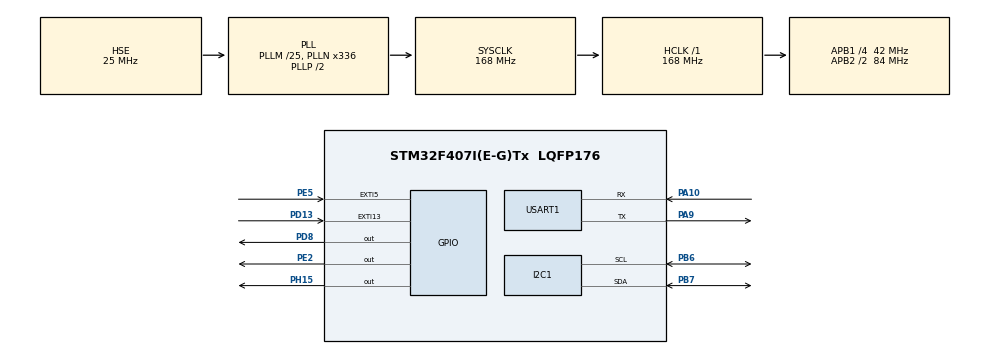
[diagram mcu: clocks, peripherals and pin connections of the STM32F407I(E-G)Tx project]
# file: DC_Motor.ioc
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I2C1.DualAddressMode=I2C_DUALADDRESS_DISABLE
I2C1.GeneralCallMode=I2C_GENERALCALL_ENABLE
Mcu.Family=STM32F4
Mcu.Name=STM32F407I(E-G)Tx
Mcu.Package=LQFP176
NVIC.EXTI15_10_IRQn=true\:4\:0\:true\:false\:true
NVIC.EXTI9_5_IRQn=true\:5\:0\:true\:false\:true
NVIC.PriorityGroup=NVIC_PRIORITYGROUP_4
NVIC.TIM3_IRQn=true\:2\:0\:true\:false\:true
NVIC.USART1_IRQn=true\:3\:0\:true\:false\:true
PA10.Mode=Asynchronous
PA10.Signal=USART1_RX
PA9.Mode=Asynchronous
PA9.Signal=USART1_TX
PB6.Mode=I2C
PB6.Signal=I2C1_SCL
PB7.Mode=I2C
PB7.Signal=I2C1_SDA
PD13.GPIO_ModeDefaultEXTI=GPIO_MODE_IT_FALLING
PD13.GPIO_PuPd=GPIO_NOPULL
PD13.Signal=GPXTI13
PD8.GPIO_ModeDefaultOutputPP=GPIO_MODE_OUTPUT_PP
PD8.GPIO_PuPd=GPIO_PULLUP
PD8.Signal=GPIO_Output
PE2.GPIO_ModeDefaultOutputPP=GPIO_MODE_OUTPUT_PP
PE2.GPIO_PuPd=GPIO_PULLUP
PE2.Signal=GPIO_Output
PE5.GPIO_ModeDefaultEXTI=GPIO_MODE_IT_FALLING
PE5.GPIO_PuPd=GPIO_PULLUP
PE5.Signal=GPXTI5
PH0-OSC_IN.Mode=HSE-External-Oscillator
PH0-OSC_IN.Signal=RCC_OSC_IN
PH1-OSC_OUT.Mode=HSE-External-Oscillator
PH1-OSC_OUT.Signal=RCC_OSC_OUT
PH15.GPIO_ModeDefaultOutputPP=GPIO_MODE_OUTPUT_OD
PH15.Signal=GPIO_Output
ProjectManager.HeapSize=0x200
ProjectManager.StackSize=0x400
ProjectManager.TargetToolchain=MDK-ARM V5
RCC.48MHZClocksFreq_Value=84000000
RCC.AHBFreq_Value=168000000
RCC.APB1CLKDivider=RCC_HCLK_DIV4
RCC.APB1Freq_Value=42000000
RCC.APB1TimFreq_Value=84000000
RCC.APB2CLKDivider=RCC_HCLK_DIV2
RCC.APB2Freq_Value=84000000
RCC.APB2TimFreq_Value=168000000
RCC.CortexFreq_Value=168000000
RCC.HCLKFreq_Value=168000000
RCC.HSE_VALUE=25000000
RCC.HSI_VALUE=16000000
RCC.LSE_VALUE=32768
RCC.PLLM=25
RCC.PLLN=336
RCC.PLLSourceVirtual=RCC_PLLSOURCE_HSE
RCC.SYSCLKFreq_VALUE=168000000
RCC.SYSCLKSource=RCC_SYSCLKSOURCE_PLLCLK
RCC.VCOOutputFreq_Value=336000000
TIM3.ClockDivision=TIM_CLOCKDIVISION_DIV1
TIM3.Period=20000
TIM3.Prescaler=83
VP_TIM3_VS_ClockSourceINT.Mode=Internal
board=DC_Motor

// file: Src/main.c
/**
  ******************************************************************************
  * File Name          : main.c
  * Description        : Main program body
  ******************************************************************************
  *
  * COPYRIGHT(c) 2016 STMicroelectronics
  *
  * Redistribution and use in source and binary forms, with or without modification,
  * are permitted provided that the following conditions are met:
  *   1. Redistributions of source code must retain the above copyright notice,
  *      this list of conditions and the following disclaimer.
  *   2. Redistributions in binary form must reproduce the above copyright notice,
  *      this list of conditions and the following disclaimer in the documentation
  *      and/or other materials provided with the distribution.
  *   3. Neither the name of STMicroelectronics nor the names of its contributors
  *      may be used to endorse or promote products derived from this software
  *      without specific prior written permission.
  *
  * THIS SOFTWARE IS PROVIDED BY THE COPYRIGHT HOLDERS AND CONTRIBUTORS "AS IS"
  * AND ANY EXPRESS OR IMPLIED WARRANTIES, INCLUDING, BUT NOT LIMITED TO, THE
  * IMPLIED WARRANTIES OF MERCHANTABILITY AND FITNESS FOR A PARTICULAR PURPOSE ARE
  * DISCLAIMED. IN NO EVENT SHALL THE COPYRIGHT HOLDER OR CONTRIBUTORS BE LIABLE
  * FOR ANY DIRECT, INDIRECT, INCIDENTAL, SPECIAL, EXEMPLARY, OR CONSEQUENTIAL
  * DAMAGES (INCLUDING, BUT NOT LIMITED TO, PROCUREMENT OF SUBSTITUTE GOODS OR
  * SERVICES; LOSS OF USE, DATA, OR PROFITS; OR BUSINESS INTERRUPTION) HOWEVER
  * CAUSED AND ON ANY THEORY OF LIABILITY, WHETHER IN CONTRACT, STRICT LIABILITY,
  * OR TORT (INCLUDING NEGLIGENCE OR OTHERWISE) ARISING IN ANY WAY OUT OF THE USE
  * OF THIS SOFTWARE, EVEN IF ADVISED OF THE POSSIBILITY OF SUCH DAMAGE.
  *
  ******************************************************************************
  */
#include "stm32f4xx_hal.h"
#include "i2c.h"
#include "tim.h"
#include "usart.h"
#include "gpio.h"
#include "LM75A.h"

/* USER CODE BEGIN Includes */
#include "zlg7290.h"
#include "stdio.h"
#include "Dc_motor.h"
#include "stm32f4xx_hal_iwdg.h"
#include "i2c.h"

/* USER CODE END Includes */

/* USER CODE BEGIN PV */
/* Private variables ---------------------------------------------------------*/
#define ZLG_READ_ADDRESS1         0x01
#define ZLG_READ_ADDRESS2         0x10

#define ZLG_WRITE_ADDRESS1        0x10
#define ZLG_WRITE_ADDRESS2        0x11
#define BUFFER_SIZE1              (countof(Tx1_Buffer))
#define BUFFER_SIZE2              (countof(Rx2_Buffer))
#define countof(a) (sizeof(a) / sizeof(*(a)))
#define QUEUESIZE									5

uint8_t flag;//不同的按键有不同的标志位值
//uint8_t flag1 = 0;//中断标志位，每次按键产生一次中断，并开始读取8个数码管的值
uint8_t Rx2_Buffer[8]={0};
uint8_t Tx1_Buffer[8]={0};
uint8_t Rx1_Buffer[1]={0};

// 备份温度阈值
typedef struct dataBack
{
	/* data */
	uint8_t bk[3];
	uint16_t cksum;
}databk;

// 用于存储当前状态
typedef struct currentState {
	uint8_t state[2];
	uint16_t check;
}curState;

uint8_t seq_flag;       // 前序代码id

unsigned char seg7code[10]={ 0xFC,0x0C,0xDA,0xF2,0x66,0xB6,0xBE,0xE0,0xFE,0xE6}; //数码管字根
void Led(int date);

/* USER CODE END PV */

void SystemClock_Config(void);
void SystemClock_Config1(void);
void Error_Handler(void);
uint16_t crc16(uint8_t *addr,uint8_t num);

/* USER CODE BEGIN PFP */
/* Private function prototypes -----------------------------------------------*/
void swtich_key(void);
void switch_flag(void);
/* USER CODE END PFP */

/* USER CODE BEGIN 0 */
databk bk2;
uint16_t checksum_b1;
uint16_t Temp;
uint8_t count = 0;
uint8_t first = 0;
uint8_t second = 0;
uint8_t third = 0;
double tempvalue;
IWDG_HandleTypeDef hiwdg;
uint8_t threshold[3] = {26, 27, 29};    // 温度阈值
uint16_t thresholdck;                   // 温度阈值的校验值

uint8_t bufSize = 3;
uint16_t checksum;
int temp_flag = 1;
databk bk1;
uint16_t checksum_b2;
uint32_t unStartflag[64] __attribute__((at(0x10000000)));
curState curstate;
/* USER CODE END 0 */

void delay() {
	for(int i =0; i < 5000; i++) {
	}
}

// 算术平均滤波
double filter(int N, uint16_t Temp) {
	double sum = 0;
	short i;
	for(i =0; i < N; i++) {
		sum += LM75GetTempValue(Temp);
	}

	return sum / N;
}

//CRC-16校验
//addr:需要检验的字节数组
//num:需要检验的字节数
//返回值:16位CRC校验码
uint16_t crc16(uint8_t *addr,uint8_t num)
{
	uint16_t i,j,temp;
	uint16_t crc=0xFFFF;
	for(i=0;i<num;i++)
	{
		crc=crc^(*addr);
		for(j=0;j<8;j++)
		{
			temp=crc&0x0001;
			crc=crc>>1;
			if(temp)
			{
				crc=crc^0xA001;
			}
		}
		addr++;
	}
	return crc;
}

/*初始化看门狗*/
void MX_IWDG_Init(void) {
	hiwdg.Instance = IWDG;		//独立看门狗
	hiwdg.Init.Prescaler = IWDG_PRESCALER_64;		//设置IWDG分频系数为64
	hiwdg.Init.Reload = 4095;										//重装载值4095
	if (HAL_IWDG_Init(&hiwdg) != HAL_OK) {
		Error_Handler();
	}
}

/*喂狗*/
void IWDG_Feed(void) {
	HAL_IWDG_Refresh(&hiwdg);
}

//备份温度阈值
void backup() {
	bk1.bk[0] = threshold[0];
	bk1.bk[1] = threshold[1];
	bk1.bk[2] = threshold[2];
	bk1.cksum = crc16(bk1.bk, 3);

	bk2.bk[0] = threshold[0];
	bk2.bk[1] = threshold[1];
	bk2.bk[2] = threshold[2];
	bk2.cksum = crc16(bk2.bk, 3);
}

//初始化
void init() {
	/* Reset of all peripherals, Initializes the Flash interface and the Systick. */
	HAL_Init();
	//HAL_Delay(10);
	/* Configure the system clock */
	SystemClock_Config();
	//SystemClock_Config1();

	/* Initialize all configured peripherals */
	MX_GPIO_Init();
	MX_I2C1_Init();
	MX_USART1_UART_Init();
	MX_TIM3_Init();
	LM75SetMode(CONF_ADDR,NORMOR_MODE);
	DC_Motor_Pin_Low();
	HAL_TIM_Base_Start_IT(&htim3);   //启动定时器3.

	seq_flag = 1;
}

//手动模式读键值

int main(void)
{

  /* USER CODE BEGIN 1 */
	if (unStartflag[0] != 0xaabbccdd) {
		//冷启动
		delay();
		init();
		MX_IWDG_Init();			//init dog
	} else {
		//热启动
		if (crc16(curstate.state, 2) != curstate.check) {
			delay();
			init();
			MX_IWDG_Init();			//init dog
		}
	}
    unStartflag[0] = 0xaabbccdd;    // 冷热启动标志
    backup();

  /* USER CODE END 1 */

  /* MCU Configuration----------------------------------------------------------*/

  /* Infinite loop */
  /* USER CODE BEGIN WHILE */
  while (1)
  {
		init();
		//printf("%x\n", crc16(threshold, 3));
		//printf("%x\n", unStartflag[0]);
		/* USER CODE BEGIN 3 */
		if(flag1 == 1)
		{
			flag1 = 0;
			if (seq_flag == 1 || seq_flag == 5) {
				I2C_ZLG7290_Read(&hi2c1,0x71,0x01,Rx1_Buffer,1);//读键值
				first = Rx1_Buffer[0];
				//printf("first:\n\r按键键值 = %#x\r\n",Rx1_Buffer[0]);//想串口发送键值
				I2C_ZLG7290_Read(&hi2c1,0x71,0x01,Rx1_Buffer,1);//读键值
				second = Rx1_Buffer[0];
				//printf("second:\n\r按键键值 = %#x\r\n",Rx1_Buffer[0]);//想串口发送键值
				I2C_ZLG7290_Read(&hi2c1,0x71,0x01,Rx1_Buffer,1);//读键值
				third = Rx1_Buffer[0];
				//printf("1: %#x, 2: %#x, 3: %#x\r\n",first, second, third);//想串口发送键?
				if (first != second || second != third || first != third) {
					continue;
				}
				IWDG_Feed();		//feed dog
				HAL_Delay(rand()%100);      // 随机时延
				seq_flag = 2;
			}
			if (seq_flag == 2) {
				swtich_key();
				printf("\n\r按键键值 = %d\r\n",flag);//想串口发送键值
				//DC_Task(Rx1_Buffer[0]);
				curstate.state[0] = Rx1_Buffer[0];
				if (flag != 1 && flag != 2 && flag != 3) {
					flag = 0;
				}
				//Led(flag);
				curstate.state[1] = flag;
				curstate.check = crc16(curstate.state, 2);
				seq_flag = 3;
			}
			count = 0;

		}	else {
			if (seq_flag == 1 || seq_flag == 3) {
				if (LM75GetTempReg() == EVL_ER) {   // 没有读到温度
					temp_flag = 0;
					for(int i = 0; i < 5; i++) {    // 再检测5次
						if (LM75GetTempReg() != EVL_ER) {
							temp_flag = 1;
						}
					}
					if (temp_flag == 0) {       // 温度传感器出错
						printf("temp error!\n");
						Led(0x0B);
					}
				} else {
					temp_flag = 1;
				}
				seq_flag = 4;
			}
			if (seq_flag == 4) {
				if (temp_flag == 1 && count > 100) {
					tempvalue = filter((rand()%6) + 1, LM75GetTempReg());   // 对温度进行滤波
					IWDG_Feed();		//feed dog
					if (crc16(threshold, 3) != thresholdck) {   // 数据校验值错误
						if (crc16(bk1.bk, 3) == bk1.cksum) {    // 取备份1
							for(int i = 0; i < 3; i++) {        // 若备份1正确，使用备份1修正原来的数据
								threshold[i] = bk1.bk[i];
							}
							thresholdck = bk1.cksum;
						} else if (crc16(bk1.bk, 3) != bk1.cksum){  // 备份1错，取备份2
							for(int i = 0; i < 3; i++) {        // 若备份2正确，使用备份2修正原来的数据和备份1
								threshold[i] = bk2.bk[i];
							}
							thresholdck = bk2.cksum;
							for(int i = 0; i < 3; i++) {
								bk1.bk[i] = bk2.bk[i];
							}
							bk1.cksum = bk2.cksum;
						} else {                        // 都错，报错
							printf("threshold error!\n");
							Led(0x0B);
						}
					}
					HAL_Delay(rand()%100);      // 随机时延
					if (tempvalue > threshold[0] && tempvalue < threshold[1]) {
						//DC_Task(0x1c);
						//Led(1);
						curstate.state[0] = 0x1c;      // 存储当前状态
						curstate.state[1] = 1;
						curstate.check = crc16(curstate.state, 2);
					} else if (tempvalue >= threshold[1] && tempvalue < threshold[2]) {
						//DC_Task(0x1b);
						//Led(2);
						curstate.state[0] = 0x1b;       // 存储当前状态
						curstate.state[1] = 2;
						curstate.check = crc16(curstate.state, 2);
					} else if (tempvalue >= threshold[2]){
						//DC_Task(0x1a);
						//Led(3);
						curstate.state[0] = 0x1a;       // 存储当前状态
						curstate.state[1] = 3;
						curstate.check = crc16(curstate.state, 2);
					} else {
						//DC_Task(0x1d);
						//Led(0);
						curstate.state[0] = 0x1d;       // 存储当前状态
						curstate.state[1] = 0;
						curstate.check = crc16(curstate.state, 2);
					}
					count = 0;
					seq_flag = 5;
				}
			}
		}
        // fresh
        int seq = rand() % 2;   // 乱序执行
        switch(seq) {
        case 0:
            DC_Task(curstate.state[0]);
		    Led(curstate.state[1]);
        case 1:
            Led(curstate.state[1]);
            DC_Task(curstate.state[0]);
        }
		// DC_Task(curstate.state[0]);
		// Led(curstate.state[1]);
		count++;
	  HAL_Delay(100);
  }
  /* USER CODE END 3 */
}

/** System Clock Configuration
*/
void SystemClock_Config(void)
{

  RCC_OscInitTypeDef RCC_OscInitStruct;
  RCC_ClkInitTypeDef RCC_ClkInitStruct;

  __HAL_RCC_PWR_CLK_ENABLE();

  __HAL_PWR_VOLTAGESCALING_CONFIG(PWR_REGULATOR_VOLTAGE_SCALE1);

  RCC_OscInitStruct.OscillatorType = RCC_OSCILLATORTYPE_HSE;
  RCC_OscInitStruct.HSEState = RCC_HSE_ON;
  RCC_OscInitStruct.PLL.PLLState = RCC_PLL_ON;
  RCC_OscInitStruct.PLL.PLLSource = RCC_PLLSOURCE_HSE;
  RCC_OscInitStruct.PLL.PLLM = 25;
  RCC_OscInitStruct.PLL.PLLN = 336;
  RCC_OscInitStruct.PLL.PLLP = RCC_PLLP_DIV2;
  RCC_OscInitStruct.PLL.PLLQ = 4;
  if (HAL_RCC_OscConfig(&RCC_OscInitStruct) != HAL_OK)
  {
    Error_Handler();
  }

  RCC_ClkInitStruct.ClockType = RCC_CLOCKTYPE_HCLK|RCC_CLOCKTYPE_SYSCLK
                              |RCC_CLOCKTYPE_PCLK1|RCC_CLOCKTYPE_PCLK2;
  RCC_ClkInitStruct.SYSCLKSource = RCC_SYSCLKSOURCE_PLLCLK;
  RCC_ClkInitStruct.AHBCLKDivider = RCC_SYSCLK_DIV1;
  RCC_ClkInitStruct.APB1CLKDivider = RCC_HCLK_DIV4;
  RCC_ClkInitStruct.APB2CLKDivider = RCC_HCLK_DIV2;
  if (HAL_RCC_ClockConfig(&RCC_ClkInitStruct, FLASH_LATENCY_5) != HAL_OK)
  {
    Error_Handler();
  }

  //HAL_SYSTICK_Config(HAL_RCC_GetHCLKFreq()/1000);

  //HAL_SYSTICK_CLKSourceConfig(SYSTICK_CLKSOURCE_HCLK);

  /* SysTick_IRQn interrupt configuration */
  //HAL_NVIC_SetPriority(SysTick_IRQn, 0, 0);

	/*add*/
	//RCC_OscInitTypeDef RCC_OscInitStruct;
  //RCC_ClkInitTypeDef RCC_ClkInitStruct;

  __HAL_RCC_PWR_CLK_ENABLE();

  __HAL_PWR_VOLTAGESCALING_CONFIG(PWR_REGULATOR_VOLTAGE_SCALE1);

  RCC_OscInitStruct.OscillatorType = RCC_OSCILLATORTYPE_HSI;
  RCC_OscInitStruct.HSIState = RCC_HSI_ON;
  RCC_OscInitStruct.HSICalibrationValue = 16;
  RCC_OscInitStruct.PLL.PLLState = RCC_PLL_NONE;
  if (HAL_RCC_OscConfig(&RCC_OscInitStruct) != HAL_OK)
  {
    Error_Handler();
  }

  RCC_ClkInitStruct.ClockType = RCC_CLOCKTYPE_HCLK|RCC_CLOCKTYPE_SYSCLK
                              |RCC_CLOCKTYPE_PCLK1|RCC_CLOCKTYPE_PCLK2;
  RCC_ClkInitStruct.SYSCLKSource = RCC_SYSCLKSOURCE_HSI;
  RCC_ClkInitStruct.AHBCLKDivider = RCC_SYSCLK_DIV1;
  RCC_ClkInitStruct.APB1CLKDivider = RCC_HCLK_DIV1;
  RCC_ClkInitStruct.APB2CLKDivider = RCC_HCLK_DIV1;
  if (HAL_RCC_ClockConfig(&RCC_ClkInitStruct, FLASH_LATENCY_0) != HAL_OK)
  {
    Error_Handler();
  }

  HAL_SYSTICK_Config(HAL_RCC_GetHCLKFreq()/1000);

  HAL_SYSTICK_CLKSourceConfig(SYSTICK_CLKSOURCE_HCLK);

  /* SysTick_IRQn interrupt configuration */
  HAL_NVIC_SetPriority(SysTick_IRQn, 0, 0);
	/*end*/
}

/* USER CODE BEGIN 4 */

/*temp add*/
/*void SystemClock_Config1(void)
{

  RCC_OscInitTypeDef RCC_OscInitStruct;
  RCC_ClkInitTypeDef RCC_ClkInitStruct;

  __HAL_RCC_PWR_CLK_ENABLE();

  __HAL_PWR_VOLTAGESCALING_CONFIG(PWR_REGULATOR_VOLTAGE_SCALE1);

  RCC_OscInitStruct.OscillatorType = RCC_OSCILLATORTYPE_HSI;
  RCC_OscInitStruct.HSIState = RCC_HSI_ON;
  RCC_OscInitStruct.HSICalibrationValue = 16;
  RCC_OscInitStruct.PLL.PLLState = RCC_PLL_NONE;
  if (HAL_RCC_OscConfig(&RCC_OscInitStruct) != HAL_OK)
  {
    Error_Handler();
  }

  RCC_ClkInitStruct.ClockType = RCC_CLOCKTYPE_HCLK|RCC_CLOCKTYPE_SYSCLK
                              |RCC_CLOCKTYPE_PCLK1|RCC_CLOCKTYPE_PCLK2;
  RCC_ClkInitStruct.SYSCLKSource = RCC_SYSCLKSOURCE_HSI;
  RCC_ClkInitStruct.AHBCLKDivider = RCC_SYSCLK_DIV1;
  RCC_ClkInitStruct.APB1CLKDivider = RCC_HCLK_DIV1;
  RCC_ClkInitStruct.APB2CLKDivider = RCC_HCLK_DIV1;
  if (HAL_RCC_ClockConfig(&RCC_ClkInitStruct, FLASH_LATENCY_0) != HAL_OK)
  {
    Error_Handler();
  }

  HAL_SYSTICK_Config(HAL_RCC_GetHCLKFreq()/1000);

  HAL_SYSTICK_CLKSourceConfig(SYSTICK_CLKSOURCE_HCLK);

  //HAL_NVIC_SetPriority(SysTick_IRQn, 0, 0);
//}
end*/

void Led(int date) //显示函数
{
/*****************数据转换*****************************/
unsigned int qian,bai,shi,ge;
  qian=date/1000;				 //求千位
  bai=date%1000/100;		 //求百位
  shi=date%1000%100/10;			 //求十位
  ge=date%10;						 //求个位

//	I2C_Gets(ZLG7290_I2C_ADDR,0x10,1,Rx2_Buffer,8);//读8位数码管

	if(fs_flag==0) Tx1_Buffer[3] = 0x02;
	if(fs_flag==1) Tx1_Buffer[3] = 0x00;
	if(fs_flag ==2) Tx1_Buffer[3] =seg7code[0];

	Tx1_Buffer[4] = seg7code[qian];
	Tx1_Buffer[5] = seg7code[bai];
	Tx1_Buffer[6] = seg7code[shi];
	Tx1_Buffer[7] = seg7code[ge];

  I2C_ZLG7290_Write(&hi2c1,0x70,ZLG_WRITE_ADDRESS1,Tx1_Buffer,8);
}

void swtich_key(void)
{
	switch(Rx1_Buffer[0])
	{
        case 0x1C:
					flag = 1;
          break;
        case 0x1B:
					flag = 2;
          break;
        case 0x1A:
					flag = 3;
          break;
        case 0x14:
					flag = 4;
          break;
				case 0x13:
					flag = 5;
					break;
        case 0x12:
					flag = 6;
          break;
        case 0x0C:
					flag = 7;
          break;
        case 0x0B:
          flag = 8;
          break;
				case 0x0A:
					flag = 9;
					break;
				case 0x03:
					flag = 15;
					break;
				case 0x19:
					flag = 10;
					break;
				case 0x11:
					flag = 11;
					break;
				case 0x09:
					flag = 12;
					break;
				case 0x01:
					flag = 13;
					break;
				case 0x02:
					flag = 14;
					break;
        default:
          break;
			}
}

void switch_flag(void){
	switch(flag){
			case 1:
				Tx1_Buffer[0] = 0x0c;
				if(Rx2_Buffer[0] == 0)
					{
						I2C_ZLG7290_Write(&hi2c1,0x70,ZLG_WRITE_ADDRESS1,Tx1_Buffer,1);
					}
					else
					{
						I2C_ZLG7290_Write(&hi2c1,0x70,ZLG_WRITE_ADDRESS2,Rx2_Buffer,BUFFER_SIZE2);
						I2C_ZLG7290_Write(&hi2c1,0x70,ZLG_WRITE_ADDRESS1,Tx1_Buffer,1);
					}
				break;
			case 2:
				Tx1_Buffer[0] = 0xDA;
				if(Rx2_Buffer[0] == 0)
					{
						I2C_ZLG7290_Write(&hi2c1,0x70,ZLG_WRITE_ADDRESS1,Tx1_Buffer,1);
					}
					else
					{
						I2C_ZLG7290_Write(&hi2c1,0x70,ZLG_WRITE_ADDRESS2,Rx2_Buffer,BUFFER_SIZE2);
						I2C_ZLG7290_Write(&hi2c1,0x70,ZLG_WRITE_ADDRESS1,Tx1_Buffer,1);
					}
				break;
			case 3:
				Tx1_Buffer[0] = 0xF2;
				if(Rx2_Buffer[0] == 0)
					{
						I2C_ZLG7290_Write(&hi2c1,0x70,ZLG_WRITE_ADDRESS1,Tx1_Buffer,1);
					}
					else
					{
						I2C_ZLG7290_Write(&hi2c1,0x70,ZLG_WRITE_ADDRESS2,Rx2_Buffer,BUFFER_SIZE2);
						I2C_ZLG7290_Write(&hi2c1,0x70,ZLG_WRITE_ADDRESS1,Tx1_Buffer,1);
					}
				break;
			case 4:
				Tx1_Buffer[0] = 0x66;
				if(Rx2_Buffer[0] == 0)
					{
						I2C_ZLG7290_Write(&hi2c1,0x70,ZLG_WRITE_ADDRESS1,Tx1_Buffer,1);
					}
					else
					{
						I2C_ZLG7290_Write(&hi2c1,0x70,ZLG_WRITE_ADDRESS2,Rx2_Buffer,BUFFER_SIZE2);
						I2C_ZLG7290_Write(&hi2c1,0x70,ZLG_WRITE_ADDRESS1,Tx1_Buffer,1);
					}
				break;
			case 5:
				Tx1_Buffer[0] = 0xB6;
				if(Rx2_Buffer[0] == 0)
					{
						I2C_ZLG7290_Write(&hi2c1,0x70,ZLG_WRITE_ADDRESS1,Tx1_Buffer,1);
					}
					else
					{
						I2C_ZLG7290_Write(&hi2c1,0x70,ZLG_WRITE_ADDRESS2,Rx2_Buffer,BUFFER_SIZE2);
						I2C_ZLG7290_Write(&hi2c1,0x70,ZLG_WRITE_ADDRESS1,Tx1_Buffer,1);
					}
				break;
			case 6:
				Tx1_Buffer[0] = 0xBE;
				if(Rx2_Buffer[0] == 0)
					{
						I2C_ZLG7290_Write(&hi2c1,0x70,ZLG_WRITE_ADDRESS1,Tx1_Buffer,1);
					}
					else
					{
						I2C_ZLG7290_Write(&hi2c1,0x70,ZLG_WRITE_ADDRESS2,Rx2_Buffer,BUFFER_SIZE2);
						I2C_ZLG7290_Write(&hi2c1,0x70,ZLG_WRITE_ADDRESS1,Tx1_Buffer,1);
					}
				break;
			case 7:
				Tx1_Buffer[0] = 0xE0;
				if(Rx2_Buffer[0] == 0)
					{
						I2C_ZLG7290_Write(&hi2c1,0x70,ZLG_WRITE_ADDRESS1,Tx1_Buffer,1);
					}
					else
					{
						I2C_ZLG7290_Write(&hi2c1,0x70,ZLG_WRITE_ADDRESS2,Rx2_Buffer,BUFFER_SIZE2);
						I2C_ZLG7290_Write(&hi2c1,0x70,ZLG_WRITE_ADDRESS1,Tx1_Buffer,1);
					}
				break;
			case 8:
				Tx1_Buffer[0] = 0xFE;
				if(Rx2_Buffer[0] == 0)
					{
						I2C_ZLG7290_Write(&hi2c1,0x70,ZLG_WRITE_ADDRESS1,Tx1_Buffer,1);
					}
					else
					{
						I2C_ZLG7290_Write(&hi2c1,0x70,ZLG_WRITE_ADDRESS2,Rx2_Buffer,BUFFER_SIZE2);
						I2C_ZLG7290_Write(&hi2c1,0x70,ZLG_WRITE_ADDRESS1,Tx1_Buffer,1);
					}
				break;
			case 9:
				Tx1_Buffer[0] = 0xE6;
				if(Rx2_Buffer[0] == 0)
					{
						I2C_ZLG7290_Write(&hi2c1,0x70,ZLG_WRITE_ADDRESS1,Tx1_Buffer,1);
					}
					else
					{
						I2C_ZLG7290_Write(&hi2c1,0x70,ZLG_WRITE_ADDRESS2,Rx2_Buffer,BUFFER_SIZE2);
						I2C_ZLG7290_Write(&hi2c1,0x70,ZLG_WRITE_ADDRESS1,Tx1_Buffer,1);
					}
				break;
			case 10:
				Tx1_Buffer[0] = 0xEE;
				if(Rx2_Buffer[0] == 0)
					{
						I2C_ZLG7290_Write(&hi2c1,0x70,ZLG_WRITE_ADDRESS1,Tx1_Buffer,1);
					}
					else
					{
						I2C_ZLG7290_Write(&hi2c1,0x70,ZLG_WRITE_ADDRESS2,Rx2_Buffer,BUFFER_SIZE2);
						I2C_ZLG7290_Write(&hi2c1,0x70,ZLG_WRITE_ADDRESS1,Tx1_Buffer,1);
					}
				break;
			case 11:
				Tx1_Buffer[0] = 0x3E;
				if(Rx2_Buffer[0] == 0)
					{
						I2C_ZLG7290_Write(&hi2c1,0x70,ZLG_WRITE_ADDRESS1,Tx1_Buffer,1);
					}
					else
					{
						I2C_ZLG7290_Write(&hi2c1,0x70,ZLG_WRITE_ADDRESS2,Rx2_Buffer,BUFFER_SIZE2);
						I2C_ZLG7290_Write(&hi2c1,0x70,ZLG_WRITE_ADDRESS1,Tx1_Buffer,1);
					}
				break;
					case 12:
				Tx1_Buffer[0] = 0x9C;
				if(Rx2_Buffer[0] == 0)
					{
						I2C_ZLG7290_Write(&hi2c1,0x70,ZLG_WRITE_ADDRESS1,Tx1_Buffer,1);
					}
					else
					{
						I2C_ZLG7290_Write(&hi2c1,0x70,ZLG_WRITE_ADDRESS2,Rx2_Buffer,BUFFER_SIZE2);
						I2C_ZLG7290_Write(&hi2c1,0x70,ZLG_WRITE_ADDRESS1,Tx1_Buffer,1);
					}
				break;
					case 13:
				Tx1_Buffer[0] = 0x7A;
				if(Rx2_Buffer[0] == 0)
					{
						I2C_ZLG7290_Write(&hi2c1,0x70,ZLG_WRITE_ADDRESS1,Tx1_Buffer,1);
					}
					else
					{
						I2C_ZLG7290_Write(&hi2c1,0x70,ZLG_WRITE_ADDRESS2,Rx2_Buffer,BUFFER_SIZE2);
						I2C_ZLG7290_Write(&hi2c1,0x70,ZLG_WRITE_ADDRESS1,Tx1_Buffer,1);
					}
				break;
					case 14:
							Tx1_Buffer[0] = 0x00;
							I2C_ZLG7290_Write(&hi2c1,0x70,ZLG_WRITE_ADDRESS1,Tx1_Buffer,8);
						break;
					case 15:
				Tx1_Buffer[0] = 0xFC;
				if(Rx2_Buffer[0] == 0)
					{
						I2C_ZLG7290_Write(&hi2c1,0x70,ZLG_WRITE_ADDRESS1,Tx1_Buffer,1);
					}
					else
					{
						I2C_ZLG7290_Write(&hi2c1,0x70,ZLG_WRITE_ADDRESS2,Rx2_Buffer,BUFFER_SIZE2);
						I2C_ZLG7290_Write(&hi2c1,0x70,ZLG_WRITE_ADDRESS1,Tx1_Buffer,1);
					}
				break;
			default:
				break;
		}
}

int fputc(int ch, FILE *f)
{
  uint8_t tmp[1]={0};
	tmp[0] = (uint8_t)ch;
	HAL_UART_Transmit(&huart1,tmp,1,10);
	return ch;
}
/* USER CODE END 4 */

/*temp add*/
int fputc1(int ch, FILE *f)
{
    while((USART1->SR&0X40)==0);
    USART1->DR = (uint8_t) ch;
    return ch;
}
/*end*/

void Error_Handler(void)
{
  while(1)
  {
  }
}

/************************ (C) COPYRIGHT STMicroelectronics *****END OF FILE****/
